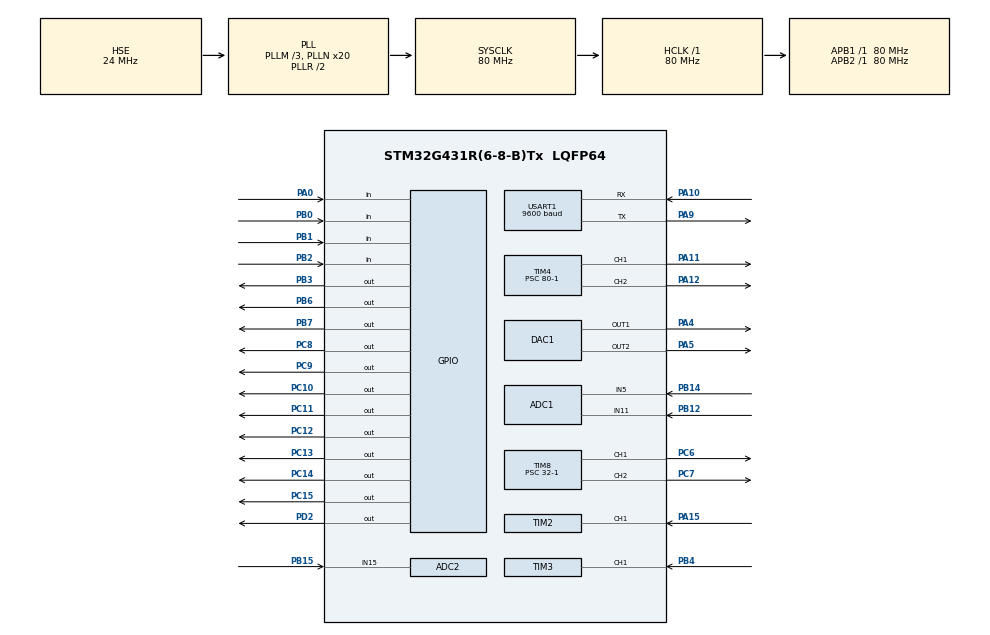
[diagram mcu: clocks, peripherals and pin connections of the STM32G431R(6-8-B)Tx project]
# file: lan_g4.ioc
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ADC1.Channel-0\#ChannelRegularConversion=ADC_CHANNEL_11
ADC1.Channel-1\#ChannelRegularConversion=ADC_CHANNEL_5
ADC1.ClockPrescaler=ADC_CLOCK_SYNC_PCLK_DIV4
ADC1.ContinuousConvMode=ENABLE
ADC1.DMAContinuousRequests=ENABLE
ADC1.NbrOfConversion=2
ADC1.NbrOfConversionFlag=1
ADC1.OffsetNumber-1\#ChannelRegularConversion=ADC_OFFSET_NONE
ADC1.Rank-1\#ChannelRegularConversion=2
ADC1.SamplingTime-0\#ChannelRegularConversion=ADC_SAMPLETIME_640CYCLES_5
ADC1.SamplingTime-1\#ChannelRegularConversion=ADC_SAMPLETIME_640CYCLES_5
ADC1.master=1
ADC2.Channel-0\#ChannelRegularConversion=ADC_CHANNEL_15
ADC2.ClockPrescaler=ADC_CLOCK_SYNC_PCLK_DIV4
ADC2.ContinuousConvMode=ENABLE
ADC2.DMAContinuousRequests=ENABLE
ADC2.NbrOfConversionFlag=1
ADC2.OffsetNumber-0\#ChannelRegularConversion=ADC_OFFSET_NONE
ADC2.Rank-0\#ChannelRegularConversion=1
ADC2.SamplingTime-0\#ChannelRegularConversion=ADC_SAMPLETIME_640CYCLES_5
DAC1.DAC_Channel-DAC_OUT2=DAC_CHANNEL_2
DAC1.DAC_Trigger_OUT1-DAC_OUT1=DAC_TRIGGER_T6_TRGO
DAC1.TriangleAmplitude_OUT1-DAC_OUT1=DAC_TRIANGLEAMPLITUDE_4095
DAC1.WaveGeneration_OUT1-DAC_OUT1=TriangleWaveGeneration
Dma.ADC1.1.Direction=DMA_PERIPH_TO_MEMORY
Dma.ADC1.1.EventEnable=DISABLE
Dma.ADC1.1.Instance=DMA1_Channel1
Dma.ADC1.1.MemDataAlignment=DMA_MDATAALIGN_WORD
Dma.ADC1.1.MemInc=DMA_MINC_ENABLE
Dma.ADC1.1.Mode=DMA_CIRCULAR
Dma.ADC1.1.PeriphDataAlignment=DMA_PDATAALIGN_WORD
Dma.ADC1.1.PeriphInc=DMA_PINC_DISABLE
Dma.ADC1.1.Polarity=HAL_DMAMUX_REQ_GEN_RISING
Dma.ADC1.1.Priority=DMA_PRIORITY_HIGH
Dma.ADC1.1.RequestNumber=1
Dma.ADC1.1.SignalID=NONE
Dma.ADC1.1.SyncEnable=DISABLE
Dma.ADC1.1.SyncPolarity=HAL_DMAMUX_SYNC_NO_EVENT
Dma.ADC1.1.SyncRequestNumber=1
Dma.ADC1.1.SyncSignalID=NONE
Dma.ADC2.0.Direction=DMA_PERIPH_TO_MEMORY
Dma.ADC2.0.EventEnable=DISABLE
Dma.ADC2.0.Instance=DMA1_Channel2
Dma.ADC2.0.MemDataAlignment=DMA_MDATAALIGN_WORD
Dma.ADC2.0.MemInc=DMA_MINC_ENABLE
Dma.ADC2.0.Mode=DMA_CIRCULAR
Dma.ADC2.0.PeriphDataAlignment=DMA_PDATAALIGN_WORD
Dma.ADC2.0.PeriphInc=DMA_PINC_DISABLE
Dma.ADC2.0.Polarity=HAL_DMAMUX_REQ_GEN_RISING
Dma.ADC2.0.Priority=DMA_PRIORITY_HIGH
Dma.ADC2.0.RequestNumber=1
Dma.ADC2.0.SignalID=NONE
Dma.ADC2.0.SyncEnable=DISABLE
Dma.ADC2.0.SyncPolarity=HAL_DMAMUX_SYNC_NO_EVENT
Dma.ADC2.0.SyncRequestNumber=1
Dma.ADC2.0.SyncSignalID=NONE
Dma.Request0=ADC2
Dma.Request1=ADC1
Dma.Request2=USART1_TX
Dma.Request3=USART1_RX
Dma.USART1_RX.3.Direction=DMA_PERIPH_TO_MEMORY
Dma.USART1_RX.3.EventEnable=DISABLE
Dma.USART1_RX.3.Instance=DMA1_Channel4
Dma.USART1_RX.3.MemDataAlignment=DMA_MDATAALIGN_BYTE
Dma.USART1_RX.3.MemInc=DMA_MINC_ENABLE
Dma.USART1_RX.3.Mode=DMA_NORMAL
Dma.USART1_RX.3.PeriphDataAlignment=DMA_PDATAALIGN_BYTE
Dma.USART1_RX.3.PeriphInc=DMA_PINC_DISABLE
Dma.USART1_RX.3.Polarity=HAL_DMAMUX_REQ_GEN_RISING
Dma.USART1_RX.3.Priority=DMA_PRIORITY_MEDIUM
Dma.USART1_RX.3.RequestNumber=1
Dma.USART1_RX.3.SignalID=NONE
Dma.USART1_RX.3.SyncEnable=DISABLE
Dma.USART1_RX.3.SyncPolarity=HAL_DMAMUX_SYNC_NO_EVENT
Dma.USART1_RX.3.SyncRequestNumber=1
Dma.USART1_RX.3.SyncSignalID=NONE
Dma.USART1_TX.2.Direction=DMA_MEMORY_TO_PERIPH
Dma.USART1_TX.2.EventEnable=DISABLE
Dma.USART1_TX.2.Instance=DMA1_Channel3
Dma.USART1_TX.2.MemDataAlignment=DMA_MDATAALIGN_BYTE
Dma.USART1_TX.2.MemInc=DMA_MINC_ENABLE
Dma.USART1_TX.2.Mode=DMA_NORMAL
Dma.USART1_TX.2.PeriphDataAlignment=DMA_PDATAALIGN_BYTE
Dma.USART1_TX.2.PeriphInc=DMA_PINC_DISABLE
Dma.USART1_TX.2.Polarity=HAL_DMAMUX_REQ_GEN_RISING
Dma.USART1_TX.2.Priority=DMA_PRIORITY_MEDIUM
Dma.USART1_TX.2.RequestNumber=1
Dma.USART1_TX.2.SignalID=NONE
Dma.USART1_TX.2.SyncEnable=DISABLE
Dma.USART1_TX.2.SyncPolarity=HAL_DMAMUX_SYNC_NO_EVENT
Dma.USART1_TX.2.SyncRequestNumber=1
Dma.USART1_TX.2.SyncSignalID=NONE
Mcu.Family=STM32G4
Mcu.Name=STM32G431R(6-8-B)Tx
Mcu.Package=LQFP64
NVIC.DMA1_Channel1_IRQn=true\:0\:0\:false\:false\:true\:false\:true
NVIC.DMA1_Channel2_IRQn=true\:0\:0\:false\:false\:true\:false\:true
NVIC.DMA1_Channel3_IRQn=true\:0\:0\:false\:false\:true\:false\:true
NVIC.DMA1_Channel4_IRQn=true\:0\:0\:false\:false\:true\:false\:true
NVIC.PriorityGroup=NVIC_PRIORITYGROUP_4
NVIC.RTC_Alarm_IRQn=true\:1\:0\:true\:false\:true\:true\:true
NVIC.TIM2_IRQn=true\:5\:0\:true\:false\:true\:true\:true
NVIC.TIM3_IRQn=true\:4\:0\:true\:false\:true\:true\:true
NVIC.TIM4_IRQn=true\:3\:0\:true\:false\:true\:true\:true
NVIC.TIM7_IRQn=true\:0\:0\:false\:false\:true\:true\:true
NVIC.USART1_IRQn=true\:2\:0\:true\:false\:true\:true\:true
PA0.GPIO_PuPd=GPIO_PULLUP
PA0.Signal=GPIO_Input
PA10.Mode=Asynchronous
PA10.Signal=USART1_RX
PA11.Signal=S_TIM4_CH1
PA12.Signal=S_TIM4_CH2
PA13.Mode=Serial_Wire
PA13.Signal=SYS_JTMS-SWDIO
PA14.Mode=Serial_Wire
PA14.Signal=SYS_JTCK-SWCLK
PA15.GPIO_PuPd=GPIO_PULLDOWN
PA15.Signal=S_TIM2_CH1
PA4.Signal=COMP_DAC11_group
PA5.Signal=COMP_DAC12_group
PA9.Mode=Asynchronous
PA9.Signal=USART1_TX
PB0.GPIO_Mode=GPIO_MODE_INPUT
PB0.GPIO_PuPd=GPIO_PULLUP
PB0.Signal=GPIO_Input
PB1.GPIO_Mode=GPIO_MODE_INPUT
PB1.GPIO_PuPd=GPIO_PULLUP
PB1.Signal=GPIO_Input
PB12.Mode=IN11-Single-Ended
PB12.Signal=ADC1_IN11
PB14.Mode=IN5-Single-Ended
PB14.Signal=ADC1_IN5
PB15.Mode=IN15-Single-Ended
PB15.Signal=ADC2_IN15
PB2.GPIO_Mode=GPIO_MODE_INPUT
PB2.GPIO_PuPd=GPIO_PULLUP
PB2.Signal=GPIO_Input
PB3.GPIO_PuPd=GPIO_NOPULL
PB3.GPIO_Speed=GPIO_SPEED_FREQ_HIGH
PB3.PinState=GPIO_PIN_SET
PB3.Signal=GPIO_Output
PB4.GPIO_PuPd=GPIO_PULLDOWN
PB4.Signal=S_TIM3_CH1
PB6.Signal=GPIO_Output
PB7.Signal=GPIO_Output
PC10.GPIO_ModeDefaultOutputPP=GPIO_MODE_OUTPUT_PP
PC10.GPIO_PuPd=GPIO_NOPULL
PC10.GPIO_Speed=GPIO_SPEED_FREQ_LOW
PC10.PinState=GPIO_PIN_SET
PC10.Signal=GPIO_Output
PC11.GPIO_ModeDefaultOutputPP=GPIO_MODE_OUTPUT_PP
PC11.GPIO_PuPd=GPIO_NOPULL
PC11.GPIO_Speed=GPIO_SPEED_FREQ_LOW
PC11.PinState=GPIO_PIN_SET
PC11.Signal=GPIO_Output
PC12.GPIO_ModeDefaultOutputPP=GPIO_MODE_OUTPUT_PP
PC12.GPIO_PuPd=GPIO_NOPULL
PC12.GPIO_Speed=GPIO_SPEED_FREQ_LOW
PC12.PinState=GPIO_PIN_SET
PC12.Signal=GPIO_Output
PC13.GPIO_ModeDefaultOutputPP=GPIO_MODE_OUTPUT_PP
PC13.GPIO_PuPd=GPIO_NOPULL
PC13.GPIO_Speed=GPIO_SPEED_FREQ_LOW
PC13.PinState=GPIO_PIN_SET
PC13.Signal=GPIO_Output
PC14-OSC32_IN.GPIO_ModeDefaultOutputPP=GPIO_MODE_OUTPUT_PP
PC14-OSC32_IN.GPIO_PuPd=GPIO_NOPULL
PC14-OSC32_IN.GPIO_Speed=GPIO_SPEED_FREQ_LOW
PC14-OSC32_IN.PinState=GPIO_PIN_SET
PC14-OSC32_IN.Signal=GPIO_Output
PC15-OSC32_OUT.GPIO_ModeDefaultOutputPP=GPIO_MODE_OUTPUT_PP
PC15-OSC32_OUT.GPIO_PuPd=GPIO_NOPULL
PC15-OSC32_OUT.GPIO_Speed=GPIO_SPEED_FREQ_LOW
PC15-OSC32_OUT.PinState=GPIO_PIN_SET
PC15-OSC32_OUT.Signal=GPIO_Output
PC6.Signal=S_TIM8_CH1
PC7.Signal=S_TIM8_CH2
PC8.PinState=GPIO_PIN_SET
PC8.Signal=GPIO_Output
PC9.GPIO_ModeDefaultOutputPP=GPIO_MODE_OUTPUT_PP
PC9.GPIO_PuPd=GPIO_NOPULL
PC9.GPIO_Speed=GPIO_SPEED_FREQ_LOW
PC9.PinState=GPIO_PIN_SET
PC9.Signal=GPIO_Output
PD2.PinState=GPIO_PIN_RESET
PD2.Signal=GPIO_Output
PF0-OSC_IN.Mode=HSE-External-Oscillator
PF0-OSC_IN.Signal=RCC_OSC_IN
PF1-OSC_OUT.Mode=HSE-External-Oscillator
PF1-OSC_OUT.Signal=RCC_OSC_OUT
ProjectManager.HeapSize=0x200
ProjectManager.StackSize=0x400
ProjectManager.TargetToolchain=MDK-ARM V5.32
RCC.ADC12Freq_Value=80000000
RCC.AHBFreq_Value=80000000
RCC.APB1Freq_Value=80000000
RCC.APB1TimFreq_Value=80000000
RCC.APB2Freq_Value=80000000
RCC.APB2TimFreq_Value=80000000
RCC.CortexFreq_Value=80000000
RCC.EXTERNAL_CLOCK_VALUE=12288000
RCC.HCLKFreq_Value=80000000
RCC.HSE_VALUE=24000000
RCC.HSI48_VALUE=48000000
RCC.HSI_VALUE=16000000
RCC.LSE_VALUE=32768
RCC.PLLM=RCC_PLLM_DIV3
RCC.PLLN=20
RCC.PLLSourceVirtual=RCC_PLLSOURCE_HSE
RCC.SYSCLKFreq_VALUE=80000000
RCC.SYSCLKSource=RCC_SYSCLKSOURCE_PLLCLK
RCC.USBFreq_Value=80000000
RCC.VCOOutputFreq_Value=160000000
RTC.Alarm-Alarm\ A=RTC_ALARM_A
RTC.AlarmMaskDateWeekDay-Alarm\ A=RTC_ALARMMASK_DATEWEEKDAY
RTC.AsynchPrediv=31
RTC.Date=7
RTC.Hours=23
RTC.Minutes=59
RTC.Month=RTC_MONTH_FEBRUARY
RTC.Seconds=50
RTC.SynchPrediv=999
RTC.WeekDay=RTC_WEEKDAY_TUESDAY
RTC.Year=23
SH.COMP_DAC11_group.0=DAC1_OUT1,DAC_OUT1
SH.COMP_DAC12_group.0=DAC1_OUT2,DAC_OUT2
SH.S_TIM2_CH1.0=TIM2_CH1,Input_Capture1_from_TI1
SH.S_TIM3_CH1.0=TIM3_CH1,Input_Capture1_from_TI1
SH.S_TIM4_CH1.0=TIM4_CH1,Output Compare1 CH1
SH.S_TIM4_CH2.0=TIM4_CH2,Output Compare2 CH2
SH.S_TIM8_CH1.0=TIM8_CH1,PWM Generation1 CH1
SH.S_TIM8_CH2.0=TIM8_CH2,PWM Generation2 CH2
TIM2.Channel-Input_Capture1_from_TI1=TIM_CHANNEL_1
TIM2.ICFilter_CH1=0
TIM2.ICPrescaler-Input_Capture1_from_TI1=TIM_ICPSC_DIV1
TIM2.PeriodNoDither=4294967295
TIM2.Prescaler=80-1
TIM2.TIM_MasterOutputTrigger=TIM_TRGO_RESET
TIM3.AutoReloadPreload=TIM_AUTORELOAD_PRELOAD_DISABLE
TIM3.Channel-Input_Capture1_from_TI1=TIM_CHANNEL_1
TIM3.PeriodNoDither=65535
TIM3.Prescaler=80-1
TIM4.AutoReloadPreload=TIM_AUTORELOAD_PRELOAD_ENABLE
TIM4.Channel-Output\ Compare1\ CH1=TIM_CHANNEL_1
TIM4.Channel-Output\ Compare2\ CH2=TIM_CHANNEL_2
TIM4.OCMode_1=TIM_OCMODE_TOGGLE
TIM4.OCMode_2=TIM_OCMODE_TOGGLE
TIM4.Prescaler=80-1
TIM4.PulseNoDither_1=0
TIM6.PeriodNoDither=122-1
TIM6.Prescaler=80-1
TIM6.TIM_MasterOutputTrigger=TIM_TRGO_UPDATE
TIM7.PeriodNoDither=1000-1
TIM7.Prescaler=80-1
TIM8.Channel-PWM\ Generation1\ CH1=TIM_CHANNEL_1
TIM8.Channel-PWM\ Generation2\ CH2=TIM_CHANNEL_2
TIM8.PeriodNoDither=1000-1
TIM8.Prescaler=32-1
TIM8.PulseNoDither_1=100
TIM8.PulseNoDither_2=500
USART1.BaudRate=9600
USART1.VirtualMode-Asynchronous=VM_ASYNC
VP_RTC_VS_RTC_Activate.Mode=RTC_Enabled
VP_RTC_VS_RTC_Alarm_A_Intern.Mode=Alarm A
VP_RTC_VS_RTC_Calendar.Mode=RTC_Calendar
VP_SYS_VS_DBSignals.Mode=DisableDeadBatterySignals
VP_TIM1_VS_ClockSourceINT.Mode=Internal
VP_TIM2_VS_ClockSourceINT.Mode=Internal
VP_TIM3_VS_ClockSourceINT.Mode=Internal
VP_TIM4_VS_ClockSourceINT.Mode=Internal
VP_TIM6_VS_ClockSourceINT.Mode=Enable_Timer
VP_TIM7_VS_ClockSourceINT.Mode=Enable_Timer
VP_TIM8_VS_ClockSourceINT.Mode=Internal
board=custom

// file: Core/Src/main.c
/* USER CODE BEGIN Header */
/**
  ******************************************************************************
  * @file           : main.c
  * @brief          : Main program body
  ******************************************************************************
  * @attention
  *
  * Copyright (c) 2022 STMicroelectronics.
  * All rights reserved.
  *
  * This software is licensed under terms that can be found in the LICENSE file
  * in the root directory of this software component.
  * If no LICENSE file comes with this software, it is provided AS-IS.
  *
  ******************************************************************************
  */
/* USER CODE END Header */
#include "main.h"
#include "adc.h"
#include "dac.h"
#include "dma.h"
#include "rtc.h"
#include "tim.h"
#include "usart.h"
#include "gpio.h"

/* USER CODE BEGIN Includes */
#include "allhead.h"
/* USER CODE END Includes */

/* USER CODE BEGIN PD */
#define alarm_hour 0
#define alarm_min 0
#define alarm_sec 10
/* USER CODE END PD */

/* USER CODE BEGIN PV */
uint32_t ADC2_Value[10];	//一个通道转换30次
uint32_t ADC1_Value[2];	//ADC1
uint32_t ADC_1 = 0;	//求平均值后的值
uint32_t ADC_2 = 0;
RTC_TimeTypeDef rtc_time;
RTC_DateTypeDef rtc_date;
uint8_t tx_buff[]="报警================\r\n  UART1 Test\r\n  1234";
uint8_t alarm_clock_flag = 0;
uint8_t menu_flag = 0;
TIM_ICTypeDef TIM_IC_2;	//TIM2捕获
TIM_ICTypeDef TIM_IC_3;	//TIM3捕获
uint8_t TIM_IC_flag = 0;
uint8_t TIM_CHx_flag = 1;	//先转换TIM2

/* USER CODE END PV */

void SystemClock_Config(void);
/* USER CODE BEGIN PFP */
void Alarm_configuration(uint8_t hour,uint8_t min,uint8_t sec);
void Alarm_compute(uint8_t hour,uint8_t min,uint8_t sec);
void enter_standby_mode(void);
/* USER CODE END PFP */

int main(void)
{
  /* USER CODE BEGIN 1 */
//  uint8_t eeprom_num;
//  uint8_t arr[5]= "Fuck";
//  uint8_t arr2[5];
//	uint8_t i;
  /* USER CODE END 1 */

  /* MCU Configuration--------------------------------------------------------*/

  /* Reset of all peripherals, Initializes the Flash interface and the Systick. */
  HAL_Init();

  /* Configure the system clock */
  SystemClock_Config();

  /* Initialize all configured peripherals */
  MX_GPIO_Init();
  MX_TIM2_Init();
  MX_DMA_Init();
  MX_USART1_UART_Init();
  MX_ADC1_Init();
  MX_ADC2_Init();
  MX_DAC1_Init();
  MX_TIM6_Init();
  MX_RTC_Init();
  MX_TIM3_Init();
  MX_TIM4_Init();
  MX_TIM1_Init();
  MX_TIM7_Init();
  MX_TIM8_Init();
  /* USER CODE BEGIN 2 */
  HAL_TIM_Base_Start_IT(&htim7);	//使能定时器2+中断
  LCD_Init();	//LCD初始化
  lightAll_open(0);	//一开始LED全灭
  //HAL_UART_Receive_IT(&huart1,(uint8_t*)&USART1_NewData,1);
  I2CInit();	//I2C初始化
  LCD_Clear(Black);
  LCD_SetBackColor(Black);
  LCD_SetTextColor(Blue2);
  HAL_ADCEx_Calibration_Start(&hadc1,ADC_SINGLE_ENDED);    //ADC1校准
  HAL_ADCEx_Calibration_Start(&hadc2,ADC_SINGLE_ENDED);    //ADC2校准
  HAL_ADC_Start_DMA(&hadc1,(uint32_t*)&ADC1_Value,2);
  HAL_ADC_Start_DMA(&hadc2,(uint32_t*)&ADC2_Value,10);
  HAL_TIM_Base_Start(&htim6);	//开启定时器6
  HAL_DAC_Start(&hdac1,DAC_CHANNEL_1);	//开启DAC通道1
  HAL_DAC_Start(&hdac1,DAC_CHANNEL_2);  //开启DAC通道2
//  set_DAC_value(&hdac1,DAC_CHANNEL_1,2.2);	//设置模数转换后的值为2.2v
  set_DAC_value(&hdac1,DAC_CHANNEL_2,3.1);  //设置模数转换后的值为3.1v
  mcp_write_byte(64);
  HAL_RTC_GetTime(&hrtc,&rtc_time,RTC_FORMAT_BIN);	//获取时间，二进制格式
  HAL_RTC_GetDate(&hrtc,&rtc_date,RTC_FORMAT_BIN);	//获取日期，二进制格式
  HAL_TIM_PWM_Start(&htim8,TIM_CHANNEL_1);	//开启定时器8通道1
  HAL_TIM_PWM_Start(&htim8,TIM_CHANNEL_2);	//开启定时器8通道2
  pwm_oc_setCH1(9000,70);	//设置频率，占空比
  pwm_oc_setCH2(600,50);	//设置频率，占空比
  HAL_TIM_OC_Start_IT(&htim4,TIM_CHANNEL_1);	//定时器4通道1
  HAL_TIM_OC_Start_IT(&htim4,TIM_CHANNEL_2);	//定时器4通道2
#if 0
  eeprom_write_page(0x08,arr,5);
  HAL_Delay(10);
  eeprom_read_sequential(0x08,arr2,5);
  printf("%s\r\n",arr2);
#endif

  /* USER CODE END 2 */

  /* Infinite loop */
  /* USER CODE BEGIN WHILE */
  while (1)
  {
#if 1
//	  if(RX_flag)
//	  {
//		  RX_flag = 0;
//		  printf("%s",USART1_RX_BUF);
//	  }

	  UART1_function();
		if(0 == TIM_IC_flag)
		{
			TIM_IC_flag++;
			//清0
			if(TIM_CHx_flag)
			{
				TIM_IC_2.TIM_ONE = 0;
				TIM_IC_2.TIM_TWO = 0;
				TIM_IC_2.TIM_THREE = 0;
				TIM_IC_2.TIM_FOUR = 0;
				__HAL_TIM_SET_CAPTUREPOLARITY(&htim2, TIM_CHANNEL_1, TIM_INPUTCHANNELPOLARITY_RISING);	//上升沿捕获
				HAL_TIM_IC_Start_IT(&htim2, TIM_CHANNEL_1);	//启动输入捕获
			}
			else
			{
				TIM_IC_3.TIM_ONE = 0;
				TIM_IC_3.TIM_TWO = 0;
				TIM_IC_3.TIM_THREE = 0;
				TIM_IC_3.TIM_FOUR = 0;
				__HAL_TIM_SET_CAPTUREPOLARITY(&htim3, TIM_CHANNEL_1, TIM_INPUTCHANNELPOLARITY_RISING);	//上升沿捕获
				HAL_TIM_IC_Start_IT(&htim3, TIM_CHANNEL_1);	//启动输入捕获
			}
		}
		if(5 == TIM_IC_flag)	//计算
		{
			TIM_IC_flag = 0;
			if(TIM_CHx_flag)
			{
				TIM_IC_2.TIM_zkb = (TIM_IC_2.TIM_FOUR - TIM_IC_2.TIM_THREE) / (float)(TIM_IC_2.TIM_FOUR - TIM_IC_2.TIM_TWO) * 100;	//高电平值/一个周期值*100
				TIM_IC_2.TIM_freq = 1000000 / (TIM_IC_2.TIM_FOUR - TIM_IC_2.TIM_TWO);	//预分频后频率/一个周期值
			}
			else
			{
				TIM_IC_3.TIM_zkb = (TIM_IC_3.TIM_FOUR - TIM_IC_3.TIM_THREE) / (float)(TIM_IC_3.TIM_FOUR - TIM_IC_3.TIM_TWO) * 100;	//高电平值/一个周期值*100
				TIM_IC_3.TIM_freq = 1000000 / (TIM_IC_3.TIM_FOUR - TIM_IC_3.TIM_TWO);	//预分频后频率/一个周期值
			}
			TIM_CHx_flag = !TIM_CHx_flag;	//取反
		}

	  if(PWM1_Flag)	//PWM 【按键3】
	  {
		  PWM1_Flag = 0;
		  p_SetFre(10);	//每次加10%
//		  pA6_SetDuty(100);
	  }
	  if(PWM2_Flag)	//PWM 【按键4】
	  {
		  PWM2_Flag = 0;
		  pA7_SetDuty(100);
	  }

	  if(Key_flag)
	  {
		  Key_flag = 0;
		  KEY_Proc();
	  }
	  if(LCD_scan_Flag)
	  {
		  LCD_scan_Flag = 0;
		  if(menu_flag)
		  {
			  MY_LCD_DisNum(Long_Num);
		  }
		  else
		  {
			  pwm_display();
		  }
	  }
	  if(alarm_clock_flag)
	  {
		  alarm_clock_flag = 0;
		  HAL_UART_Transmit_DMA(&huart1,(uint8_t*)"闹钟响了\r\n",12);
	  }

#endif

#if 0

#endif

    /* USER CODE END WHILE */

  }
}

void SystemClock_Config(void)
{
  RCC_OscInitTypeDef RCC_OscInitStruct = {0};
  RCC_ClkInitTypeDef RCC_ClkInitStruct = {0};

  /** Configure the main internal regulator output voltage
  */
  HAL_PWREx_ControlVoltageScaling(PWR_REGULATOR_VOLTAGE_SCALE1);
  /** Initializes the RCC Oscillators according to the specified parameters
  * in the RCC_OscInitTypeDef structure.
  */
  RCC_OscInitStruct.OscillatorType = RCC_OSCILLATORTYPE_LSI|RCC_OSCILLATORTYPE_HSE;
  RCC_OscInitStruct.HSEState = RCC_HSE_ON;
  RCC_OscInitStruct.LSIState = RCC_LSI_ON;
  RCC_OscInitStruct.PLL.PLLState = RCC_PLL_ON;
  RCC_OscInitStruct.PLL.PLLSource = RCC_PLLSOURCE_HSE;
  RCC_OscInitStruct.PLL.PLLM = RCC_PLLM_DIV3;
  RCC_OscInitStruct.PLL.PLLN = 20;
  RCC_OscInitStruct.PLL.PLLP = RCC_PLLP_DIV2;
  RCC_OscInitStruct.PLL.PLLQ = RCC_PLLQ_DIV2;
  RCC_OscInitStruct.PLL.PLLR = RCC_PLLR_DIV2;
  if (HAL_RCC_OscConfig(&RCC_OscInitStruct) != HAL_OK)
  {
    Error_Handler();
  }
  /** Initializes the CPU, AHB and APB buses clocks
  */
  RCC_ClkInitStruct.ClockType = RCC_CLOCKTYPE_HCLK|RCC_CLOCKTYPE_SYSCLK
                              |RCC_CLOCKTYPE_PCLK1|RCC_CLOCKTYPE_PCLK2;
  RCC_ClkInitStruct.SYSCLKSource = RCC_SYSCLKSOURCE_PLLCLK;
  RCC_ClkInitStruct.AHBCLKDivider = RCC_SYSCLK_DIV1;
  RCC_ClkInitStruct.APB1CLKDivider = RCC_HCLK_DIV1;
  RCC_ClkInitStruct.APB2CLKDivider = RCC_HCLK_DIV1;

  if (HAL_RCC_ClockConfig(&RCC_ClkInitStruct, FLASH_LATENCY_2) != HAL_OK)
  {
    Error_Handler();
  }
}

/* USER CODE BEGIN 4 */

//闹钟配置函数 参数：时 分 秒
void Alarm_configuration(uint8_t hour,uint8_t min,uint8_t sec)
{
	//直接复制 rtc.c 然后把 RTC_FORMAT_BCD 改成 RTC_FORMAT_BIN
	RTC_AlarmTypeDef sAlarm = {0};

	sAlarm.AlarmTime.Hours = hour;
	sAlarm.AlarmTime.Minutes = min;
	sAlarm.AlarmTime.Seconds = sec;
	sAlarm.AlarmTime.SubSeconds = 0x0;
	sAlarm.AlarmMask = RTC_ALARMMASK_DATEWEEKDAY;
	sAlarm.AlarmSubSecondMask = RTC_ALARMSUBSECONDMASK_ALL;
	sAlarm.AlarmDateWeekDaySel = RTC_ALARMDATEWEEKDAYSEL_DATE;
	sAlarm.AlarmDateWeekDay = 0x1;
	sAlarm.Alarm = RTC_ALARM_A;
	if (HAL_RTC_SetAlarm_IT(&hrtc, &sAlarm, RTC_FORMAT_BIN) != HAL_OK)
	{
		Error_Handler();
	}
}
void Alarm_compute(uint8_t hour,uint8_t min,uint8_t sec)
{
	uint8_t h = 0,m = 0, s = 0;
	RTC_TimeTypeDef gtime = {0};
	RTC_DateTypeDef gdate = {0};

	HAL_RTC_GetTime(&hrtc,&gtime,RTC_FORMAT_BIN);
	HAL_RTC_GetDate(&hrtc,&gdate,RTC_FORMAT_BIN);

	if((s = (sec + gtime.Seconds)) > 59)	//如果设定值+获取值>59
	{
		s = s % 60;	//取余
		++gtime.Minutes;	//分+1
	}
	if((m = (min + gtime.Minutes)) > 59)	//如果设定值+获取值>59
	{
		m = m % 60;	//取余
		++gtime.Hours;	//时+1
	}
	if((h = (hour + gtime.Hours)) > 23)	//如果设定值+获取值>23
	{
		h = h % 23;	//取余
	}

	Alarm_configuration(h,m,s);
}

//进入待机模式函数
void enter_standby_mode(void)
{
	HAL_PWR_DisableWakeUpPin(PWR_WAKEUP_PIN1);	//失能PA0
	//HAL_GPIO_WritePin(GPIOA, GPIO_PIN_0, GPIO_PIN_RESET);//PA0端口变成低电平，准备好唤醒键初始电平
	__HAL_PWR_CLEAR_FLAG(PWR_FLAG_WU);	//清除唤醒标志位
	HAL_PWR_EnableWakeUpPin(PWR_WAKEUP_PIN1);	////使能WKUP引脚的唤醒功能
	HAL_PWR_EnterSTANDBYMode();	//进入待机模式
}

//闹钟中断回调函数
void HAL_RTC_AlarmAEventCallback(RTC_HandleTypeDef *hrtc)
{
	alarm_clock_flag = 1;	//闹钟标志位
	__HAL_PWR_CLEAR_FLAG(PWR_FLAG_SB);//清除待机标志位
	Alarm_compute(alarm_hour,alarm_min,alarm_sec);
}
/* USER CODE END 4 */

void Error_Handler(void)
{
  __disable_irq();
  while (1)
  {
  }
}
